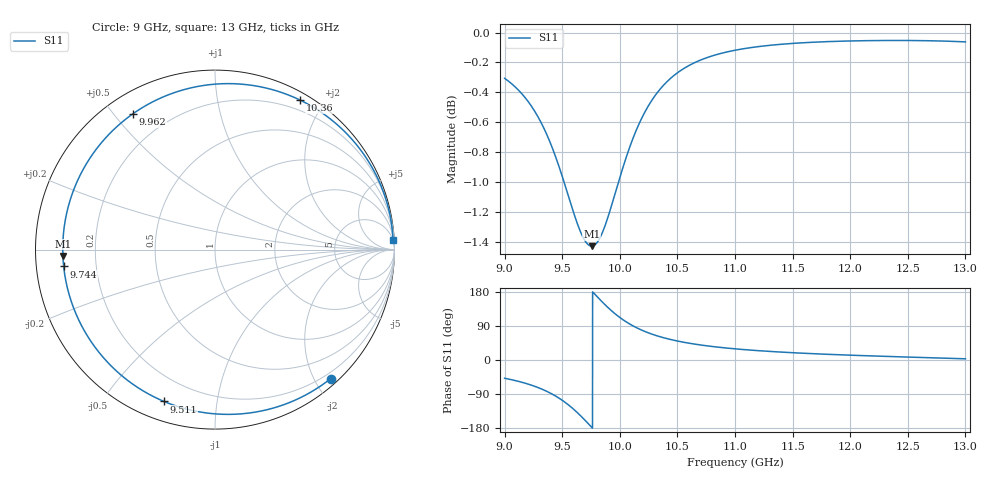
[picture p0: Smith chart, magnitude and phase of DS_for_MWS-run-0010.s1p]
! TOUCHSTONE file generated by CST DESIGN STUDIO
! Date and time: Tue Feb  4 16:07:23 2025
! Project name: C:\Work\MatlabApps\UnitCellOptimizationMatlab\CST\unitcell.cst
! Tree item: Tasks\Sweep1\SPara1\S-Parameters
! Header version: 2024
! Port assignment regex: !\s*Touchstone port\s*([0-9]+)\s*=\s*(CST MWS port|CST DES external port|CST DES block port)\s*(.+)\s* \(\"(.*)\"\)(\s*mode\s*([0-9]+))?.*
! Touchstone port assignment:
! Touchstone port 1 = CST DES external port 1 ("")
# GHz S MA R 50
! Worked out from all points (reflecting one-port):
!   4001 points, 9 GHz to 13 GHz, reference 50 ohm
!   lowest |S11| = -1.4 dB at 9.756 GHz (marker M1), VSWR 12.18, Z = 4.11 - j1.06 ohm
!   phase of S11 starts at -48 deg and turns -309 deg over the sweep
!   S11 on the Smith chart (normalised r, x): 9 GHz: 0.11, -2.24; 9.511 GHz: 0.09, -0.72; 9.744 GHz: 0.08, -0.05; 9.962 GHz: 0.08, +0.56; 10.36 GHz: 0.08, +1.72; 13 GHz: 5, +36
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9  0.9654 -48.1
9.14  0.9548 -57.9
9.269  0.9401 -70.3
9.4  0.9179 -87.9
9.453  0.9064 -97.0
9.5  0.8952 -106.2
9.511  0.8925 -108.6
9.568  0.8781 -121.9
9.623  0.865 -136.5
9.687  0.8532 -155.5
9.744  0.8484 -173.7
9.756  0.8483 -177.6
9.8  0.8504 168.2
9.846  0.8567 153.6
9.905  0.8694 136.2
9.962  0.8841 121.2
10  0.8942 112.2
10.066  0.9108 98.6
10.142  0.9273 85.7
10.248  0.9451 71.6
10.362  0.9586 60.3
10.5  0.9694 50.1
10.718  0.9796 38.9
11  0.9864 29.4
11.5  0.9917 19.2
12  0.9935 12.7
12.5  0.9939 7.7
13  0.9928 3.2
